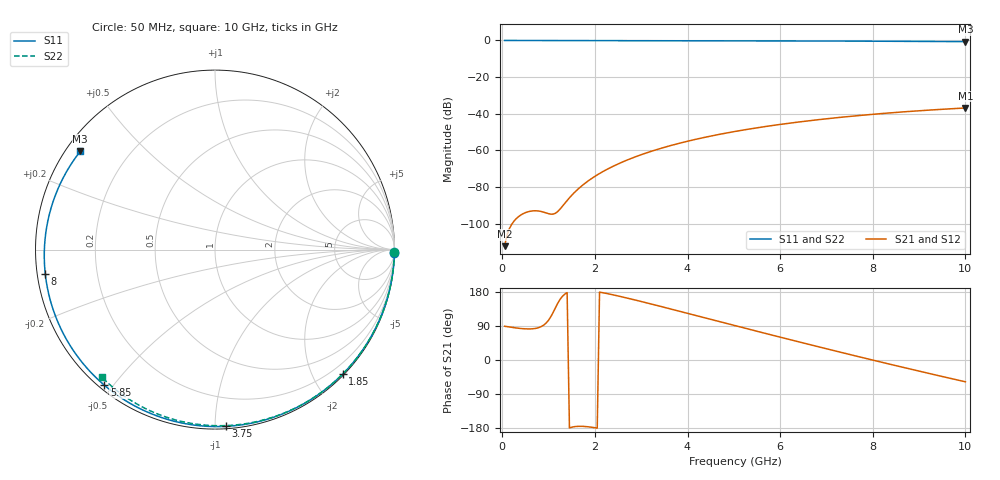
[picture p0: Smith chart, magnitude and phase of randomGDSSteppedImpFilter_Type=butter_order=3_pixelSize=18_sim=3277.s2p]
! freq	dB(S11)	phase(S11)	dB(S12)	phase(S12)
!  dB(S21)	phase(S21)	dB(S22)	phase(S22)
!S-par simulation data
#  GHz  S  DB  R 50
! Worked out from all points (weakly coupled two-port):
!   200 points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, 50 MHz to 10 GHz, reference 50 ohm
!   highest |S21| = -36.83 dB at 10 GHz (marker M1); lowest = -112.2 dB at 50 MHz (marker M2)
!   lowest |S11| = -0.6 dB at 10 GHz (marker M3), VSWR 27.29, Z = 2.03 + j16.2 ohm
!   |S11| at or under -10 dB: nowhere
!   |S22| runs from -0.4 to 0.0 dB; largest |S21 - S12| = 0
!   S11 on the Smith chart (normalised r, x): 50 MHz: 0, -93; 1.85 GHz: 0.02, -2.45; 3.75 GHz: 0.01, -1.06; 5.85 GHz: 0.02, -0.47; 8 GHz: 0.02, -0.07; 10 GHz: 0.04, +0.32
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0.05  -0.00 -1.2  -112.20 89.1  -112.20 89.1  -0.00 -0.8
0.8  -0.02 -19.4  -93.08 86.0  -93.08 86.0  -0.02 -12.1
1.2  -0.04 -29.0  -93.23 150.4  -93.23 150.4  -0.02 -18.1
1.65  -0.05 -39.7  -80.73 -175.0  -80.73 -175.0  -0.03 -24.7
1.7  -0.05 -40.8  -79.64 -175.0  -79.64 -175.0  -0.03 -25.5
1.75  -0.05 -42.0  -78.60 -175.2  -78.60 -175.2  -0.03 -26.2
1.85  -0.06 -44.3  -76.68 -176.2  -76.68 -176.2  -0.04 -27.7
2.15  -0.07 -51.2  -71.83 178.1  -71.83 178.1  -0.04 -32.1
2.5  -0.08 -59.2  -67.35 169.0  -67.35 169.0  -0.05 -37.1
2.9  -0.09 -68.1  -63.22 157.4  -63.22 157.4  -0.06 -42.9
3.4  -0.10 -79.0  -59.02 142.0  -59.02 142.0  -0.07 -49.9
3.75  -0.12 -86.5  -56.55 131.1  -56.55 131.1  -0.07 -54.8
4.4  -0.14 -100.1  -52.68 110.5  -52.68 110.5  -0.09 -63.6
5.05  -0.17 -113.3  -49.52 89.9  -49.52 89.9  -0.11 -72.2
5.85  -0.22 -129.2  -46.33 64.9  -46.33 64.9  -0.14 -82.5
6.7  -0.28 -145.9  -43.57 38.7  -43.57 38.7  -0.18 -93.1
7.35  -0.33 -158.8  -41.80 19.1  -41.80 19.1  -0.22 -101.0
8  -0.40 -172.0  -40.28 -0.3  -40.28 -0.3  -0.26 -108.6
8.35  -0.44 -179.2  -39.55 -10.6  -39.55 -10.6  -0.29 -112.7
8.8  -0.49 171.2  -38.69 -23.6  -38.69 -23.6  -0.33 -117.9
9.2  -0.53 162.5  -38.01 -35.1  -38.01 -35.1  -0.36 -122.5
10  -0.64 144.0  -36.83 -57.5  -36.83 -57.5  -0.44 -131.5
